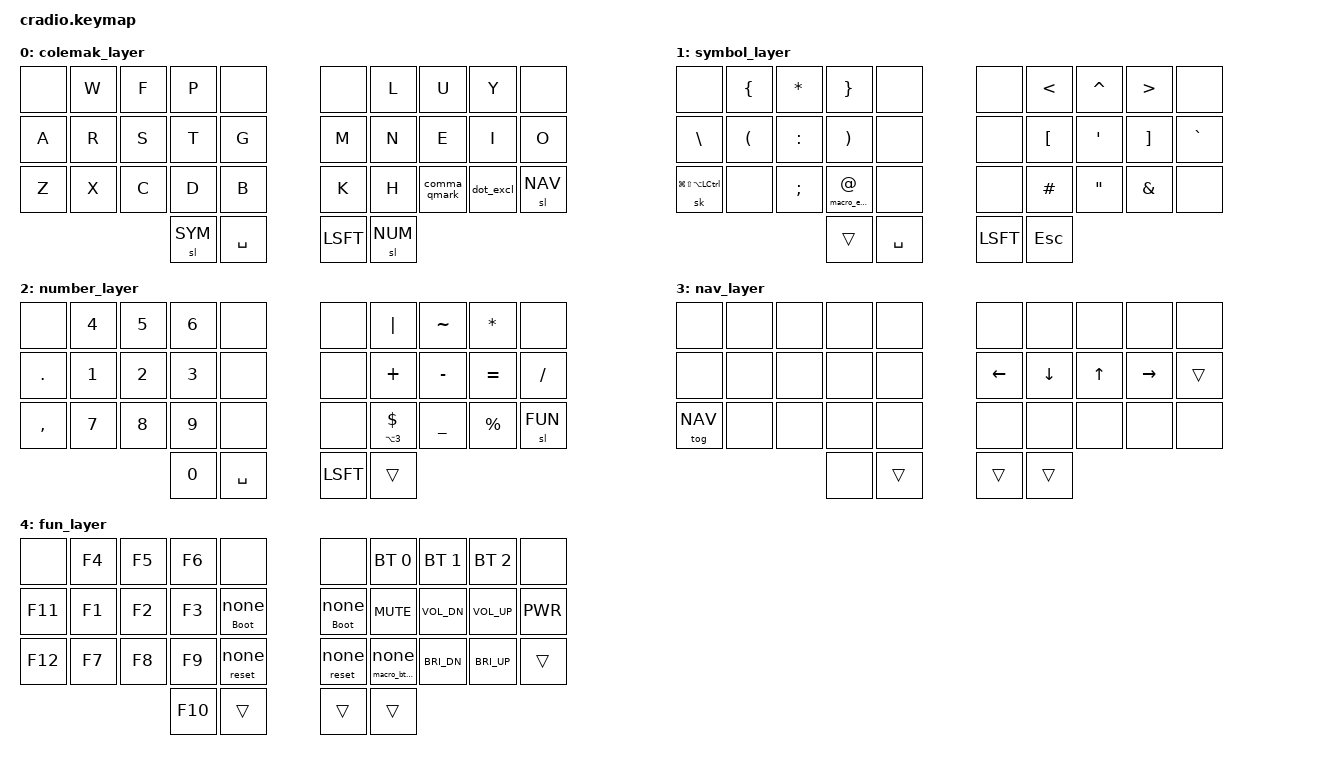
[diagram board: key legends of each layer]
/*
 * Copyright (c) 2020 The ZMK Contributors
 *
 * SPDX-License-Identifier: MIT
 */


#include <behaviors.dtsi>
#include <dt-bindings/zmk/keys.h>
#include <dt-bindings/zmk/bt.h>
#include <dt-bindings/zmk/outputs.h>
 
#define CMK 0
#define SYM 1
#define NUM 2
#define NAV 3
#define FUN 4

#define HYPER LG(LS(LA(LCTRL)))

&caps_word {
   continue-list = <UNDERSCORE MINUS BACKSPACE>;
};

/ {
    combos {
        #include "combos.dtsi"    
    };

    behaviors {
        skq: sticky_key_quick_release {
            compatible = "zmk,behavior-sticky-key";
            label = "STICKY_KEY_QUICK_RELEASE";
            #binding-cells = <1>;
            bindings = <&kp>;
            release-after-ms = <1000>;
            quick-release;
        };
        hold_bootloader: hold_bootloader {
            compatible = "zmk,behavior-hold-tap";
            label = "HOLD_BOOTLOADER";
            #binding-cells = <2>;
            tapping-term-ms = <1000>;
            quick-tap-ms = <0>;
            flavor = "balanced";
            bindings = <&bootloader>, <&none>;
        };
        hold_reset: hold_reset {
            compatible = "zmk,behavior-hold-tap";
            label = "HOLD_RESET";
            #binding-cells = <2>;
            tapping-term-ms = <1000>;
            quick-tap-ms = <0>;
            flavor = "balanced";
            bindings = <&reset>, <&none>;
        };
        hold_bt_clr: hold_bt_clr {
            compatible = "zmk,behavior-hold-tap";
            label = "HOLD_BT_CLR";
            #binding-cells = <2>;
            tapping-term-ms = <5000>;
            quick-tap-ms = <0>;
            flavor = "balanced";
            bindings = <&macro_bt_clr>, <&none>;
        };
        hold_email_at: hold_email_at {
            compatible = "zmk,behavior-hold-tap";
            label = "HOLD_EMAIL_AT";
            #binding-cells = <2>;
            tapping-term-ms = <200>;
            quick-tap-ms = <0>;
            flavor = "balanced";
            bindings = <&macro_email>, <&kp>;
        };
        hold_gbp_dollar: hold_gbp_dollar {
            compatible = "zmk,behavior-hold-tap";
            label = "HOLD_GBP_DOLLAR";
            #binding-cells = <2>;
            tapping-term-ms = <200>;
            quick-tap-ms = <0>;
            flavor = "balanced";
            bindings = <&kp>, <&kp>;
        };
        comma_qmark: comma_qmark {
            compatible = "zmk,behavior-mod-morph";
            label = "COMMA_QMARK";
            #binding-cells = <0>;
            bindings = <&kp COMMA>, <&kp QMARK>;
            mods = <(MOD_LSFT)>;
        };
        dot_excl: dot_excl {
            compatible = "zmk,behavior-mod-morph";
            label = "DOT_EXCL";
            #binding-cells = <0>;
            bindings = <&kp DOT>, <&kp EXCL>;
            mods = <(MOD_LSFT)>;
        };
    };
    macros {
        ZMK_MACRO(macro_email,
        wait-ms = <30>;
        tap-ms = <40>;
        bindings = <&kp R &kp U &kp I &kp D &kp A>
                   , <&kp AT>
                   , <&kp D &kp I &kp N &kp G &kp A &kp N &kp S &kp I>
                   , <&kp DOT &kp C &kp H>;)
        ZMK_MACRO(macro_bt_clr,
        wait-ms = <30>;
        tap-ms = <40>;
        bindings = <&bt BT_CLR>;)
    };
};

#define HOLD_BOOTLOADER &hold_bootloader 0 0
#define HOLD_RESET &hold_reset 0 0
#define HOLD_BT_CLR &hold_bt_clr 0 0
#define HOLD_EMAIL_AT &hold_email_at 0 AT
#define HOLD_GBP_DOLLAR &hold_gbp_dollar LA(N3) DOLLAR

/*           34 Keys
╭──────────────╮ ╭──────────────╮
│ 0  1  2  3  4│ │ 5  6  7  8  9│
│10 11 12 13 14│ │15 16 17 18 19│
│20 21 22 23 24│ │25 26 27 28 29│
╰────────╮30 31│ │32 33╭────────╯
         ╰─────╯ ╰─────╯         */


/ {
        keymap {
                compatible = "zmk,keymap";
                colemak_layer {
// -----------------------------------------------------------------
// |     |  W  |  F  |  P  |     | |     |  L  |  U  |  Y  |     |
// |  A  |  R  |  S  |  T  |  G  | |  M  |  N  |  E  |  I  |  O  |
// |  Z  |  X  |  C  |  D  |  B  | |  K  |  H  |  ,  |  .  |-NAV-|
//                   |-SYM-| SPC | | SFT |-NUM-|
                        bindings = <
   &none &kp W &kp F &kp P &none &none &kp L   &kp U     &kp Y   &none
   &kp A &kp R &kp S &kp T &kp G &kp M &kp N   &kp E     &kp I   &kp O
   &kp Z &kp X &kp C &kp D &kp B &kp K &kp H   &comma_qmark &dot_excl &sl NAV
                   &sl SYM &kp SPACE &kp LSFT &sl NUM
                        >;
                };
                symbol_layer {
// -----------------------------------------------------------------
// |     |  {  |  *  |  }  |     | |     |  <  |  ^  |  >  |     |
// |  \  |  (  |  :  |  )  |     | |     |  [  |  '  |  ]  |  `  |
// | HYP |     |  ;  |  @  |     | |     |  #  |  "  |  &  |     |
//                   |_SYM_|     | | SFT | ESC |
                        bindings = <
   &none  &kp LBRC &kp STAR &kp RBRC  &none &none &kp LT &kp CARET &kp GT &none
   &kp BSLH &kp LPAR &kp COLON &kp RPAR  &none &none &kp LBKT &kp SQT &kp RBKT &kp GRAVE
   &sk HYPER  &none   &kp SEMI  HOLD_EMAIL_AT  &none &none &kp HASH &kp DQT   &kp AMPS   &none
                             &trans &kp SPACE &kp LSFT &kp ESC
                        >;
                };
                number_layer {
// -----------------------------------------------------------------
// |     |  4  |  5  |  6  |     | |     |  |  |  ~  |  *  |     |
// |  .  |  1  |  2  |  3  |     | |     |  +  |  -  |  =  |  /  |
// |  ,  |  7  |  8  |  9  |     | |     |  $ £|  _  |  %  |-FUN-|
//                   |  0  | SPC | |     |_NUM_|
                        bindings = <
   &none  &kp N4 &kp N5 &kp N6 &none &none &kp PIPE &kp TILDE &kp STAR  &none
   &kp DOT &kp N1 &kp N2 &kp N3 &none &none &kp PLUS  &kp MINUS &kp EQUAL &kp FSLH
   &kp COMMA  &kp N7 &kp N8 &kp N9 &none &none HOLD_GBP_DOLLAR &kp UNDER  &kp PRCNT    &sl FUN
                 &kp N0 &kp SPACE &kp LSFT  &trans
                        >;
                };
                nav_layer {
// VHINT - Vimac hint mode and exits nav layer
// SCRLL - Vimac scroll mode and stays in nav layer
// FOCUS - move focus across open windows
// THROW - move windows into different workspaces
// -----------------------------------------------------------------
// |     | W 4 | W 5 | W 6 |     | |     |A-CLK|VHINT| CLK |     |
// |THROW| W 1 | W 2 | W 3 |     | | LFT | DWN | U P |RIGHT| DEL |
// |NAVLK| W 7 | W 8 | W 9 |     | |     | S 1 | S 2 | S 3 |_NAV_|
//                   |FOCUS| SPC | | SFT |SCRLL|
                        bindings = <
   &none &none &none &none &none &none    &none     &none     &none     &none 
   &none &none &none &none &none &kp LEFT &kp DOWN  &kp UP    &kp RIGHT &trans  
   &tog NAV &none &none &none &none &none &none &none &none   &none 
                         &none &trans &trans &trans
                        >;
                };
                fun_layer {
// -----------------------------------------------------------------
// |     | F 4 | F 5 | F 6 |     | |     | BT0 | BT1 | BT2 |     |
// | F11 | F 1 | F 2 | F 3 |FLASH| |FLASH|VMUTE|VOLDN|VOLUP|POWER|
// | F12 | F 7 | F 8 | F 9 |RESET| |RESET|BTCLR|BRIDN|BRIUP|_FUN_|
//                   | F10 | SPC | | SFT |_NUM_|
                        bindings = <
   &none &kp F4 &kp F5 &kp F6 &none &none &bt BT_SEL 0 &bt BT_SEL 1 &bt BT_SEL 2 &none
   &kp F11 &kp F1 &kp F2 &kp F3 HOLD_BOOTLOADER HOLD_BOOTLOADER &kp K_MUTE &kp C_VOL_DN &kp C_VOL_UP &kp K_PWR
   &kp F12 &kp F7 &kp F8 &kp F9  HOLD_RESET HOLD_RESET HOLD_BT_CLR &kp C_BRI_DN &kp C_BRI_UP &trans
                         &kp F10 &trans &trans &trans 
                        >;
                };
        };
}; 
